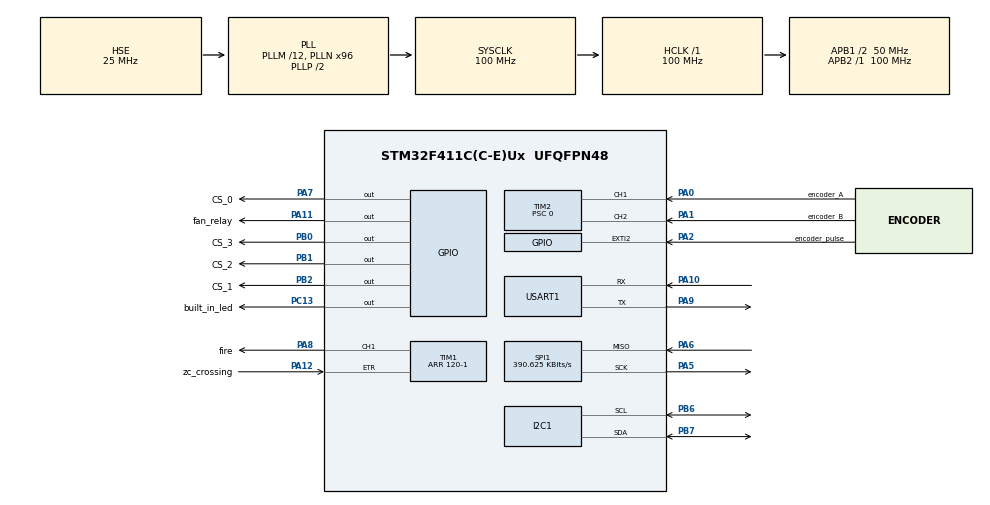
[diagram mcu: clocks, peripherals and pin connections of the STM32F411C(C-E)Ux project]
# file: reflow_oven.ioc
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Dma.I2C1_TX.0.Direction=DMA_MEMORY_TO_PERIPH
Dma.I2C1_TX.0.FIFOMode=DMA_FIFOMODE_DISABLE
Dma.I2C1_TX.0.Instance=DMA1_Stream1
Dma.I2C1_TX.0.MemDataAlignment=DMA_MDATAALIGN_BYTE
Dma.I2C1_TX.0.MemInc=DMA_MINC_ENABLE
Dma.I2C1_TX.0.Mode=DMA_NORMAL
Dma.I2C1_TX.0.PeriphDataAlignment=DMA_PDATAALIGN_BYTE
Dma.I2C1_TX.0.PeriphInc=DMA_PINC_DISABLE
Dma.I2C1_TX.0.Priority=DMA_PRIORITY_VERY_HIGH
Dma.Request0=I2C1_TX
Dma.Request1=USART1_RX
Dma.Request2=USART1_TX
Dma.USART1_RX.1.Direction=DMA_PERIPH_TO_MEMORY
Dma.USART1_RX.1.FIFOMode=DMA_FIFOMODE_DISABLE
Dma.USART1_RX.1.Instance=DMA2_Stream2
Dma.USART1_RX.1.MemDataAlignment=DMA_MDATAALIGN_BYTE
Dma.USART1_RX.1.MemInc=DMA_MINC_ENABLE
Dma.USART1_RX.1.Mode=DMA_NORMAL
Dma.USART1_RX.1.PeriphDataAlignment=DMA_PDATAALIGN_BYTE
Dma.USART1_RX.1.PeriphInc=DMA_PINC_DISABLE
Dma.USART1_RX.1.Priority=DMA_PRIORITY_LOW
Dma.USART1_TX.2.Direction=DMA_MEMORY_TO_PERIPH
Dma.USART1_TX.2.FIFOMode=DMA_FIFOMODE_DISABLE
Dma.USART1_TX.2.Instance=DMA2_Stream7
Dma.USART1_TX.2.MemDataAlignment=DMA_MDATAALIGN_BYTE
Dma.USART1_TX.2.MemInc=DMA_MINC_ENABLE
Dma.USART1_TX.2.Mode=DMA_NORMAL
Dma.USART1_TX.2.PeriphDataAlignment=DMA_PDATAALIGN_BYTE
Dma.USART1_TX.2.PeriphInc=DMA_PINC_DISABLE
Dma.USART1_TX.2.Priority=DMA_PRIORITY_VERY_HIGH
I2C1.I2C_Mode=I2C_Fast
Mcu.Family=STM32F4
Mcu.Name=STM32F411C(C-E)Ux
Mcu.Package=UFQFPN48
NVIC.DMA1_Stream1_IRQn=true\:0\:0\:false\:false\:true\:false\:true\:true
NVIC.DMA2_Stream2_IRQn=true\:0\:0\:false\:false\:true\:false\:true\:true
NVIC.DMA2_Stream7_IRQn=true\:0\:0\:false\:false\:true\:false\:true\:true
NVIC.EXTI2_IRQn=true\:0\:0\:false\:false\:true\:true\:true\:true
NVIC.I2C1_EV_IRQn=true\:0\:0\:false\:false\:true\:true\:true\:true
NVIC.PriorityGroup=NVIC_PRIORITYGROUP_4
NVIC.TIM3_IRQn=true\:0\:0\:false\:false\:true\:true\:true\:true
NVIC.USART1_IRQn=true\:0\:0\:false\:false\:true\:true\:true\:true
PA0-WKUP.GPIO_Label=encoder_A
PA0-WKUP.Signal=S_TIM2_CH1_ETR
PA1.GPIO_Label=encoder_B
PA1.Signal=S_TIM2_CH2
PA10.Mode=Asynchronous
PA10.Signal=USART1_RX
PA11.GPIO_Label=fan_relay
PA11.GPIO_ModeDefaultOutputPP=GPIO_MODE_OUTPUT_PP
PA11.GPIO_PuPd=GPIO_PULLUP
PA11.PinState=GPIO_PIN_SET
PA11.Signal=GPIO_Output
PA12.GPIO_Label=zc_crossing
PA12.Signal=S_TIM1_ETR
PA13.Mode=Serial_Wire
PA13.Signal=SYS_JTMS-SWDIO
PA14.Mode=Serial_Wire
PA14.Signal=SYS_JTCK-SWCLK
PA2.GPIO_Label=encoder_pulse
PA2.GPIO_ModeDefaultEXTI=GPIO_MODE_IT_FALLING
PA2.GPIO_PuPd=GPIO_PULLUP
PA2.Signal=GPXTI2
PA5.Mode=RX_Only_Simplex_Unidirect_Master
PA5.Signal=SPI1_SCK
PA6.Mode=RX_Only_Simplex_Unidirect_Master
PA6.Signal=SPI1_MISO
PA7.GPIO_Label=CS_0
PA7.GPIO_PuPd=GPIO_PULLUP
PA7.GPIO_Speed=GPIO_SPEED_FREQ_HIGH
PA7.PinState=GPIO_PIN_SET
PA7.Signal=GPIO_Output
PA8.GPIO_Label=fire
PA8.GPIO_ModeDefaultPP=GPIO_MODE_AF_PP
PA8.GPIO_PuPd=GPIO_PULLUP
PA8.GPIO_Speed=GPIO_SPEED_FREQ_VERY_HIGH
PA8.Signal=S_TIM1_CH1
PA9.Mode=Asynchronous
PA9.Signal=USART1_TX
PB0.GPIO_Label=CS_3
PB0.GPIO_PuPd=GPIO_PULLUP
PB0.GPIO_Speed=GPIO_SPEED_FREQ_HIGH
PB0.Signal=GPIO_Output
PB1.GPIO_Label=CS_2
PB1.GPIO_PuPd=GPIO_PULLUP
PB1.GPIO_Speed=GPIO_SPEED_FREQ_HIGH
PB1.Signal=GPIO_Output
PB2.GPIO_Label=CS_1
PB2.GPIO_PuPd=GPIO_PULLUP
PB2.GPIO_Speed=GPIO_SPEED_FREQ_HIGH
PB2.PinState=GPIO_PIN_SET
PB2.Signal=GPIO_Output
PB6.Mode=I2C
PB6.Signal=I2C1_SCL
PB7.Mode=I2C
PB7.Signal=I2C1_SDA
PC13-ANTI_TAMP.GPIO_Label=built_in_led
PC13-ANTI_TAMP.Signal=GPIO_Output
PC14-OSC32_IN.Mode=LSE-External-Oscillator
PC14-OSC32_IN.Signal=RCC_OSC32_IN
PC15-OSC32_OUT.Mode=LSE-External-Oscillator
PC15-OSC32_OUT.Signal=RCC_OSC32_OUT
PH0\ -\ OSC_IN.Mode=HSE-External-Oscillator
PH0\ -\ OSC_IN.Signal=RCC_OSC_IN
PH1\ -\ OSC_OUT.Mode=HSE-External-Oscillator
PH1\ -\ OSC_OUT.Signal=RCC_OSC_OUT
ProjectManager.HeapSize=0x200
ProjectManager.StackSize=0x400
ProjectManager.TargetToolchain=STM32CubeIDE
RCC.48MHZClocksFreq_Value=50000000
RCC.AHBFreq_Value=100000000
RCC.APB1CLKDivider=RCC_HCLK_DIV2
RCC.APB1Freq_Value=50000000
RCC.APB1TimFreq_Value=100000000
RCC.APB2Freq_Value=100000000
RCC.APB2TimFreq_Value=100000000
RCC.CortexFreq_Value=100000000
RCC.EnbaleCSS=true
RCC.HCLKFreq_Value=100000000
RCC.HSE_VALUE=25000000
RCC.HSI_VALUE=16000000
RCC.PLLM=12
RCC.PLLN=96
RCC.PLLSourceVirtual=RCC_PLLSOURCE_HSE
RCC.SYSCLKFreq_VALUE=100000000
RCC.SYSCLKSource=RCC_SYSCLKSOURCE_PLLCLK
RCC.VCOOutputFreq_Value=200000000
SH.S_TIM1_CH1.0=TIM1_CH1,PWM Generation1 CH1
SH.S_TIM1_ETR.0=TIM1_ETR,ClockSourceETR_Mode2
SH.S_TIM2_CH1_ETR.0=TIM2_CH1,Encoder_Interface
SH.S_TIM2_CH2.0=TIM2_CH2,Encoder_Interface
SPI1.BaudRatePrescaler=SPI_BAUDRATEPRESCALER_256
SPI1.CLKPhase=SPI_PHASE_1EDGE
SPI1.CalculateBaudRate=390.625 KBits/s
SPI1.DataSize=SPI_DATASIZE_16BIT
SPI1.Direction=SPI_DIRECTION_2LINES_RXONLY
SPI1.Mode=SPI_MODE_MASTER
SPI1.VirtualType=VM_MASTER
TIM1.AutoReloadPreload=TIM_AUTORELOAD_PRELOAD_ENABLE
TIM1.Channel-PWM\ Generation1\ CH1=TIM_CHANNEL_1
TIM1.ClockFilter=15
TIM1.OCFastMode_PWM-PWM\ Generation1\ CH1=TIM_OCFAST_ENABLE
TIM1.OCMode_PWM-PWM\ Generation1\ CH1=TIM_OCMODE_PWM1
TIM1.OCPolarity_1=TIM_OCPOLARITY_LOW
TIM1.Period=120-1
TIM2.AutoReloadPreload=TIM_AUTORELOAD_PRELOAD_ENABLE
TIM2.EncoderMode=TIM_ENCODERMODE_TI2
TIM2.IC1Filter=15
TIM2.IC2Filter=15
TIM2.Period=254-1
TIM2.Prescaler=0
TIM3.AutoReloadPreload=TIM_AUTORELOAD_PRELOAD_ENABLE
TIM3.Period=2500-1
TIM3.Prescaler=10000-1
USART1.VirtualMode=VM_ASYNC
VP_TIM3_VS_ClockSourceINT.Mode=Internal
board=custom

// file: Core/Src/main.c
/* USER CODE BEGIN Header */
/**
 ******************************************************************************
 * @file           : main.c
 * @github         : https://github.com/La-guajolota
 * @brief          : Main program body
 * @author 		   : Adrián Silva Palfox
 * @company 	   : Inbiodroid
 ******************************************************************************
 * @attention
 *
 * Copyright (c) 2025 STMicroelectronics.
 * All rights reserved.
 *
 * This software is licensed under terms that can be found in the LICENSE file
 * in the root directory of this software component.
 * If no LICENSE file comes with this software, it is provided AS-IS.
 *
 ******************************************************************************
 */
/* USER CODE END Header */
#include "main.h"

/* USER CODE BEGIN Includes */
/******************
 * Project includes
 ******************/
// Standard libs
#include <stdlib.h>
#include <stdio.h>
#include <stdbool.h>
#include <string.h>

// GUI related
//#include "UI/screen/ssd1306.h"
#include "UI/gui_backend.h"

// Hardware and logic control libs
#include "sensors/max6675.h"
#include "sensors/digital_filter.h"
#include "logic_control/reflow_oven_process.h"
/* USER CODE END Includes */

/* USER CODE BEGIN PD */
// Comment all debug modes to work as a reflow-oven
#define DEBUG_RANDOM_CROSSOVER_ACTUATOR
//#define DEBUG_MANUAL_PID_TUNNING
//#define DEBUG_CALIBRATION_THERMOCOUPLE

// Select a suitable digital filter
#define EMA_FILTER
// #define MV_FILTER
#ifdef MV_FILTER
#define FILTER_WINDOW 3    //window size (number of samples) for Circular buffer
#endif

// TX-UART and RX-UART-DMA parameters
#define RX_BUFFER_SIZE 30	//characters
#define TX_BUFFER_SIZE 30	//characters
#define TIMEOUT_RX 3000 	//ms
/* USER CODE END PD */

I2C_HandleTypeDef hi2c1;
DMA_HandleTypeDef hdma_i2c1_tx;

SPI_HandleTypeDef hspi1;

TIM_HandleTypeDef htim1;
TIM_HandleTypeDef htim2;
TIM_HandleTypeDef htim3;

UART_HandleTypeDef huart1;
DMA_HandleTypeDef hdma_usart1_rx;
DMA_HandleTypeDef hdma_usart1_tx;

/* USER CODE BEGIN PV */

/**************************
 * PROJECT GLOBAL VARIABLES
 *************************/
// esp01 related
volatile uint8_t RXuart_size = 1;		// Size of data to handle DMA RX uart
char webserv_buf[TX_BUFFER_SIZE] = {0}; // Tx uart buffer
char RXbuffer[RX_BUFFER_SIZE] = {0};   	// RX uart buffer
volatile uint32_t lastTime_RX; 			// Last RX timestamp (ms)
volatile bool TXuart_flag = true; 		// True->send    False->No-send
volatile bool RXuart_flag = false; 		// True->receive False->No-receive

// PID controller related
PIDController PID;
volatile uint8_t timers_isr = 0; 		// PID's sampling timer state is reflected in BIT0

// Sensors
float chamber_temp = 0.0f;      			   		// Celcius
float tempReadings[MAX6675_MAX_DEVICES] = {0.0f};	// Stores each sensor's temperature
MAX6675_Driver_t tempSensors;				   		// Intance sensor's driver
// Sensors' filter
#ifdef MV_FILTER
MovingAverage filter;								// Moving average filter instance
float filterBuffer[FILTER_WINDOW]; 					// Circular buffer for digital filter
#elif defined(EMA_FILTER)
EMAFilter filter;									// Exponential moving average filter instance
#endif
/* USER CODE END PV */

void SystemClock_Config(void);
static void MX_GPIO_Init(void);
static void MX_DMA_Init(void);
static void MX_SPI1_Init(void);
static void MX_TIM1_Init(void);
static void MX_I2C1_Init(void);
static void MX_TIM2_Init(void);
static void MX_USART1_UART_Init(void);
static void MX_TIM3_Init(void);
/* USER CODE BEGIN PFP */

/*********************
 * PROTOTYPE FUNCTIONS
 *********************/
void put_webserver_data(void);
void get_webserver_data(void);
void chamber_sense_temperature(void);
void update_randomCrossover_actuator(uint8_t);
void fan_control(bool);

/* USER CODE END PFP */

int main(void)
{

  /* MCU Configuration--------------------------------------------------------*/

  /* Reset of all peripherals, Initializes the Flash interface and the Systick. */
  HAL_Init();

  /* Configure the system clock */
  SystemClock_Config();

  /* Initialize all configured peripherals */
  MX_GPIO_Init();
  MX_DMA_Init();
  MX_SPI1_Init();
  MX_TIM1_Init();
  MX_I2C1_Init();
  MX_TIM2_Init();
  MX_USART1_UART_Init();
  MX_TIM3_Init();
  /* USER CODE BEGIN 2 */

  /****************************************************
   * INITIALIZATION OF HARDWARE AND SOFTWARE COMPONETNS
   ****************************************************/

  // PID's parameters
  PID_Init(&PID,
           2.5f,    // kp
           0.05f, 	// ki
           0.075f,  // kd
           0.3f,    // tau		-> LowPass filter
           0.0f,    // limMIN
           120.0f,  // limMAX 	-> 120 cycles since AC mains are 60hz
           -50.0f, 	// limMinInt
           50.0f,  	// limMaxInt
           0.25f);  // tsample in seconds

  // Temperature sensors
  HAL_TIM_Base_Start_IT(&htim3); // Enable sampling timer ISR
#ifdef MV_FILTER
  moving_average_init(&filter, filterBuffer, FILTER_WINDOW);
#elif defined(EMA_FILTER)
  ema_init(&filter, 0.35f);
#endif
  MAX6675_Init(&tempSensors, &hspi1);
  for (int i=0; i<MAX6675_MAX_DEVICES; i++) MAX6675_AddDevice(&tempSensors, i);

  // Zero-Crossover and fan actuators
  HAL_TIM_PWM_Start(&htim1, TIM_CHANNEL_1);
  update_randomCrossover_actuator(0);	//off
  fan_control(false); 					//off

  // User's input via encoder
  encoder.prev_dir = 0;
  encoder.prev_cnt = 0;
  HAL_TIM_Encoder_Start(&htim2, TIM_CHANNEL_ALL);

  // GUI-SM-Oled-screen | ReflowOven-SM | ESP01
  GUI_Init();
  ReflowOven_Init();
  HAL_UART_Receive_DMA(&huart1, (uint8_t*)RXbuffer, RXuart_size);

  /* USER CODE END 2 */

  /* Infinite loop */
  while (1)
  {

    /* USER CODE BEGIN 3 */
		/****************************************************************
		*  Check bti0 for temperature sensing / PID feedback-input update
		*  1.- Get temperature inside oven
		*  2.- Process data and update state
		*  3.- Act on heat elements
		*****************************************************************/
	if (timers_isr & 0x01) {
		timers_isr &= ~0x01;
		chamber_sense_temperature();
#ifdef DEBUG_RANDOM_CROSSOVER_ACTUATOR
		PID.out = PID.Kp;
		update_randomCrossover_actuator((uint8_t)PID.out); 			// PID.out <= 120 to test heating elements
#elif defined(DEBUG_MANUAL_PID_TUNNING)
	    PID_Update(&PID, 100.0f, chamber_temp); 					// SoakTime variable is used as set-point
		update_randomCrossover_actuator((uint8_t)PID.out);
#else	// Work as an actual reflow-oven
		ReflowOven_operate(&PID, chamber_temp, HAL_GetTick());
		update_randomCrossover_actuator((uint8_t)PID.out);
#endif
		put_webserver_data(); 										// Update ESP01 webserver
    }
    else {
    	/*****************************************
    	 * Receive user's inputs via
    	 * esp01 web server and encoder-OledScreen
		 *****************************************/
		get_webserver_data();
		Encoder_EventUpdate(&encoder);

		/**********************
		* Process user's inputs
		***********************/
		GUI_Process();

		/********************
		* Oled screen update
		********************/

		/***********************************
		* Handle OVEN-SM with GUI-SM states
		***********************************/
		if (ReflowOven.emergencyStop) gui_sm.is_process_running = false;
		if(!gui_sm.is_process_running){
		  ReflowOven_stopProcess();
		  fan_control(false);
		}else{
		  ReflowOven_startProcess();
		  fan_control(true);
		}
    }
  }
  /* USER CODE END 3 */
}

void SystemClock_Config(void)
{
  RCC_OscInitTypeDef RCC_OscInitStruct = {0};
  RCC_ClkInitTypeDef RCC_ClkInitStruct = {0};

  /** Configure the main internal regulator output voltage
  */
  __HAL_RCC_PWR_CLK_ENABLE();
  __HAL_PWR_VOLTAGESCALING_CONFIG(PWR_REGULATOR_VOLTAGE_SCALE1);

  /** Initializes the RCC Oscillators according to the specified parameters
  * in the RCC_OscInitTypeDef structure.
  */
  RCC_OscInitStruct.OscillatorType = RCC_OSCILLATORTYPE_HSE;
  RCC_OscInitStruct.HSEState = RCC_HSE_ON;
  RCC_OscInitStruct.PLL.PLLState = RCC_PLL_ON;
  RCC_OscInitStruct.PLL.PLLSource = RCC_PLLSOURCE_HSE;
  RCC_OscInitStruct.PLL.PLLM = 12;
  RCC_OscInitStruct.PLL.PLLN = 96;
  RCC_OscInitStruct.PLL.PLLP = RCC_PLLP_DIV2;
  RCC_OscInitStruct.PLL.PLLQ = 4;
  if (HAL_RCC_OscConfig(&RCC_OscInitStruct) != HAL_OK)
  {
    Error_Handler();
  }

  /** Initializes the CPU, AHB and APB buses clocks
  */
  RCC_ClkInitStruct.ClockType = RCC_CLOCKTYPE_HCLK|RCC_CLOCKTYPE_SYSCLK
                              |RCC_CLOCKTYPE_PCLK1|RCC_CLOCKTYPE_PCLK2;
  RCC_ClkInitStruct.SYSCLKSource = RCC_SYSCLKSOURCE_PLLCLK;
  RCC_ClkInitStruct.AHBCLKDivider = RCC_SYSCLK_DIV1;
  RCC_ClkInitStruct.APB1CLKDivider = RCC_HCLK_DIV2;
  RCC_ClkInitStruct.APB2CLKDivider = RCC_HCLK_DIV1;

  if (HAL_RCC_ClockConfig(&RCC_ClkInitStruct, FLASH_LATENCY_3) != HAL_OK)
  {
    Error_Handler();
  }

  /** Enables the Clock Security System
  */
  HAL_RCC_EnableCSS();
}

static void MX_I2C1_Init(void)
{

  hi2c1.Instance = I2C1;
  hi2c1.Init.ClockSpeed = 400000;
  hi2c1.Init.DutyCycle = I2C_DUTYCYCLE_2;
  hi2c1.Init.OwnAddress1 = 0;
  hi2c1.Init.AddressingMode = I2C_ADDRESSINGMODE_7BIT;
  hi2c1.Init.DualAddressMode = I2C_DUALADDRESS_DISABLE;
  hi2c1.Init.OwnAddress2 = 0;
  hi2c1.Init.GeneralCallMode = I2C_GENERALCALL_DISABLE;
  hi2c1.Init.NoStretchMode = I2C_NOSTRETCH_DISABLE;
  if (HAL_I2C_Init(&hi2c1) != HAL_OK)
  {
    Error_Handler();
  }

}

static void MX_SPI1_Init(void)
{

  /* SPI1 parameter configuration*/
  hspi1.Instance = SPI1;
  hspi1.Init.Mode = SPI_MODE_MASTER;
  hspi1.Init.Direction = SPI_DIRECTION_2LINES_RXONLY;
  hspi1.Init.DataSize = SPI_DATASIZE_16BIT;
  hspi1.Init.CLKPolarity = SPI_POLARITY_LOW;
  hspi1.Init.CLKPhase = SPI_PHASE_1EDGE;
  hspi1.Init.NSS = SPI_NSS_SOFT;
  hspi1.Init.BaudRatePrescaler = SPI_BAUDRATEPRESCALER_256;
  hspi1.Init.FirstBit = SPI_FIRSTBIT_MSB;
  hspi1.Init.TIMode = SPI_TIMODE_DISABLE;
  hspi1.Init.CRCCalculation = SPI_CRCCALCULATION_DISABLE;
  hspi1.Init.CRCPolynomial = 10;
  if (HAL_SPI_Init(&hspi1) != HAL_OK)
  {
    Error_Handler();
  }

}

static void MX_TIM1_Init(void)
{

  TIM_ClockConfigTypeDef sClockSourceConfig = {0};
  TIM_MasterConfigTypeDef sMasterConfig = {0};
  TIM_OC_InitTypeDef sConfigOC = {0};
  TIM_BreakDeadTimeConfigTypeDef sBreakDeadTimeConfig = {0};

  htim1.Instance = TIM1;
  htim1.Init.Prescaler = 0;
  htim1.Init.CounterMode = TIM_COUNTERMODE_UP;
  htim1.Init.Period = 120-1;
  htim1.Init.ClockDivision = TIM_CLOCKDIVISION_DIV1;
  htim1.Init.RepetitionCounter = 0;
  htim1.Init.AutoReloadPreload = TIM_AUTORELOAD_PRELOAD_ENABLE;
  if (HAL_TIM_Base_Init(&htim1) != HAL_OK)
  {
    Error_Handler();
  }
  sClockSourceConfig.ClockSource = TIM_CLOCKSOURCE_ETRMODE2;
  sClockSourceConfig.ClockPolarity = TIM_CLOCKPOLARITY_NONINVERTED;
  sClockSourceConfig.ClockPrescaler = TIM_CLOCKPRESCALER_DIV1;
  sClockSourceConfig.ClockFilter = 15;
  if (HAL_TIM_ConfigClockSource(&htim1, &sClockSourceConfig) != HAL_OK)
  {
    Error_Handler();
  }
  if (HAL_TIM_PWM_Init(&htim1) != HAL_OK)
  {
    Error_Handler();
  }
  sMasterConfig.MasterOutputTrigger = TIM_TRGO_RESET;
  sMasterConfig.MasterSlaveMode = TIM_MASTERSLAVEMODE_DISABLE;
  if (HAL_TIMEx_MasterConfigSynchronization(&htim1, &sMasterConfig) != HAL_OK)
  {
    Error_Handler();
  }
  sConfigOC.OCMode = TIM_OCMODE_PWM1;
  sConfigOC.Pulse = 0;
  sConfigOC.OCPolarity = TIM_OCPOLARITY_LOW;
  sConfigOC.OCNPolarity = TIM_OCNPOLARITY_HIGH;
  sConfigOC.OCFastMode = TIM_OCFAST_ENABLE;
  sConfigOC.OCIdleState = TIM_OCIDLESTATE_RESET;
  sConfigOC.OCNIdleState = TIM_OCNIDLESTATE_RESET;
  if (HAL_TIM_PWM_ConfigChannel(&htim1, &sConfigOC, TIM_CHANNEL_1) != HAL_OK)
  {
    Error_Handler();
  }
  sBreakDeadTimeConfig.OffStateRunMode = TIM_OSSR_DISABLE;
  sBreakDeadTimeConfig.OffStateIDLEMode = TIM_OSSI_DISABLE;
  sBreakDeadTimeConfig.LockLevel = TIM_LOCKLEVEL_OFF;
  sBreakDeadTimeConfig.DeadTime = 0;
  sBreakDeadTimeConfig.BreakState = TIM_BREAK_DISABLE;
  sBreakDeadTimeConfig.BreakPolarity = TIM_BREAKPOLARITY_HIGH;
  sBreakDeadTimeConfig.AutomaticOutput = TIM_AUTOMATICOUTPUT_DISABLE;
  if (HAL_TIMEx_ConfigBreakDeadTime(&htim1, &sBreakDeadTimeConfig) != HAL_OK)
  {
    Error_Handler();
  }
  HAL_TIM_MspPostInit(&htim1);

}

static void MX_TIM2_Init(void)
{

  TIM_Encoder_InitTypeDef sConfig = {0};
  TIM_MasterConfigTypeDef sMasterConfig = {0};

  htim2.Instance = TIM2;
  htim2.Init.Prescaler = 0;
  htim2.Init.CounterMode = TIM_COUNTERMODE_UP;
  htim2.Init.Period = 254-1;
  htim2.Init.ClockDivision = TIM_CLOCKDIVISION_DIV1;
  htim2.Init.AutoReloadPreload = TIM_AUTORELOAD_PRELOAD_ENABLE;
  sConfig.EncoderMode = TIM_ENCODERMODE_TI2;
  sConfig.IC1Polarity = TIM_ICPOLARITY_RISING;
  sConfig.IC1Selection = TIM_ICSELECTION_DIRECTTI;
  sConfig.IC1Prescaler = TIM_ICPSC_DIV1;
  sConfig.IC1Filter = 15;
  sConfig.IC2Polarity = TIM_ICPOLARITY_RISING;
  sConfig.IC2Selection = TIM_ICSELECTION_DIRECTTI;
  sConfig.IC2Prescaler = TIM_ICPSC_DIV1;
  sConfig.IC2Filter = 15;
  if (HAL_TIM_Encoder_Init(&htim2, &sConfig) != HAL_OK)
  {
    Error_Handler();
  }
  sMasterConfig.MasterOutputTrigger = TIM_TRGO_RESET;
  sMasterConfig.MasterSlaveMode = TIM_MASTERSLAVEMODE_DISABLE;
  if (HAL_TIMEx_MasterConfigSynchronization(&htim2, &sMasterConfig) != HAL_OK)
  {
    Error_Handler();
  }

}

static void MX_TIM3_Init(void)
{

  TIM_ClockConfigTypeDef sClockSourceConfig = {0};
  TIM_MasterConfigTypeDef sMasterConfig = {0};

  htim3.Instance = TIM3;
  htim3.Init.Prescaler = 10000-1;
  htim3.Init.CounterMode = TIM_COUNTERMODE_UP;
  htim3.Init.Period = 2500-1;
  htim3.Init.ClockDivision = TIM_CLOCKDIVISION_DIV1;
  htim3.Init.AutoReloadPreload = TIM_AUTORELOAD_PRELOAD_ENABLE;
  if (HAL_TIM_Base_Init(&htim3) != HAL_OK)
  {
    Error_Handler();
  }
  sClockSourceConfig.ClockSource = TIM_CLOCKSOURCE_INTERNAL;
  if (HAL_TIM_ConfigClockSource(&htim3, &sClockSourceConfig) != HAL_OK)
  {
    Error_Handler();
  }
  sMasterConfig.MasterOutputTrigger = TIM_TRGO_RESET;
  sMasterConfig.MasterSlaveMode = TIM_MASTERSLAVEMODE_DISABLE;
  if (HAL_TIMEx_MasterConfigSynchronization(&htim3, &sMasterConfig) != HAL_OK)
  {
    Error_Handler();
  }

}

static void MX_USART1_UART_Init(void)
{

  huart1.Instance = USART1;
  huart1.Init.BaudRate = 115200;
  huart1.Init.WordLength = UART_WORDLENGTH_8B;
  huart1.Init.StopBits = UART_STOPBITS_1;
  huart1.Init.Parity = UART_PARITY_NONE;
  huart1.Init.Mode = UART_MODE_TX_RX;
  huart1.Init.HwFlowCtl = UART_HWCONTROL_NONE;
  huart1.Init.OverSampling = UART_OVERSAMPLING_16;
  if (HAL_UART_Init(&huart1) != HAL_OK)
  {
    Error_Handler();
  }

}

static void MX_DMA_Init(void)
{

  /* DMA controller clock enable */
  __HAL_RCC_DMA1_CLK_ENABLE();
  __HAL_RCC_DMA2_CLK_ENABLE();

  /* DMA interrupt init */
  /* DMA1_Stream1_IRQn interrupt configuration */
  HAL_NVIC_SetPriority(DMA1_Stream1_IRQn, 0, 0);
  HAL_NVIC_EnableIRQ(DMA1_Stream1_IRQn);
  /* DMA2_Stream2_IRQn interrupt configuration */
  HAL_NVIC_SetPriority(DMA2_Stream2_IRQn, 0, 0);
  HAL_NVIC_EnableIRQ(DMA2_Stream2_IRQn);
  /* DMA2_Stream7_IRQn interrupt configuration */
  HAL_NVIC_SetPriority(DMA2_Stream7_IRQn, 0, 0);
  HAL_NVIC_EnableIRQ(DMA2_Stream7_IRQn);

}

static void MX_GPIO_Init(void)
{
  GPIO_InitTypeDef GPIO_InitStruct = {0};

  /* GPIO Ports Clock Enable */
  __HAL_RCC_GPIOC_CLK_ENABLE();
  __HAL_RCC_GPIOH_CLK_ENABLE();
  __HAL_RCC_GPIOA_CLK_ENABLE();
  __HAL_RCC_GPIOB_CLK_ENABLE();

  /*Configure GPIO pin Output Level */
  HAL_GPIO_WritePin(built_in_led_GPIO_Port, built_in_led_Pin, GPIO_PIN_RESET);

  /*Configure GPIO pin Output Level */
  HAL_GPIO_WritePin(GPIOA, CS_0_Pin|fan_relay_Pin, GPIO_PIN_SET);

  /*Configure GPIO pin Output Level */
  HAL_GPIO_WritePin(GPIOB, CS_3_Pin|CS_2_Pin, GPIO_PIN_RESET);

  /*Configure GPIO pin Output Level */
  HAL_GPIO_WritePin(CS_1_GPIO_Port, CS_1_Pin, GPIO_PIN_SET);

  /*Configure GPIO pin : built_in_led_Pin */
  GPIO_InitStruct.Pin = built_in_led_Pin;
  GPIO_InitStruct.Mode = GPIO_MODE_OUTPUT_PP;
  GPIO_InitStruct.Pull = GPIO_NOPULL;
  GPIO_InitStruct.Speed = GPIO_SPEED_FREQ_LOW;
  HAL_GPIO_Init(built_in_led_GPIO_Port, &GPIO_InitStruct);

  /*Configure GPIO pin : encoder_pulse_Pin */
  GPIO_InitStruct.Pin = encoder_pulse_Pin;
  GPIO_InitStruct.Mode = GPIO_MODE_IT_FALLING;
  GPIO_InitStruct.Pull = GPIO_PULLUP;
  HAL_GPIO_Init(encoder_pulse_GPIO_Port, &GPIO_InitStruct);

  /*Configure GPIO pin : CS_0_Pin */
  GPIO_InitStruct.Pin = CS_0_Pin;
  GPIO_InitStruct.Mode = GPIO_MODE_OUTPUT_PP;
  GPIO_InitStruct.Pull = GPIO_PULLUP;
  GPIO_InitStruct.Speed = GPIO_SPEED_FREQ_HIGH;
  HAL_GPIO_Init(CS_0_GPIO_Port, &GPIO_InitStruct);

  /*Configure GPIO pins : CS_3_Pin CS_2_Pin CS_1_Pin */
  GPIO_InitStruct.Pin = CS_3_Pin|CS_2_Pin|CS_1_Pin;
  GPIO_InitStruct.Mode = GPIO_MODE_OUTPUT_PP;
  GPIO_InitStruct.Pull = GPIO_PULLUP;
  GPIO_InitStruct.Speed = GPIO_SPEED_FREQ_HIGH;
  HAL_GPIO_Init(GPIOB, &GPIO_InitStruct);

  /*Configure GPIO pin : fan_relay_Pin */
  GPIO_InitStruct.Pin = fan_relay_Pin;
  GPIO_InitStruct.Mode = GPIO_MODE_OUTPUT_PP;
  GPIO_InitStruct.Pull = GPIO_PULLUP;
  GPIO_InitStruct.Speed = GPIO_SPEED_FREQ_LOW;
  HAL_GPIO_Init(fan_relay_GPIO_Port, &GPIO_InitStruct);

  /* EXTI interrupt init*/
  HAL_NVIC_SetPriority(EXTI2_IRQn, 0, 0);
  HAL_NVIC_EnableIRQ(EXTI2_IRQn);

}

/* USER CODE BEGIN 4 */
/*************************
 * PROTORYPES' DEFINITIONS
 *************************/
/**
 * @brief Updates PWM duty cycle for AC heating elements
 * @param ON_semiCicles Number of semi-cycles to turn on heating elements
 */
void update_randomCrossover_actuator(uint8_t ON_semiCicles){
    __HAL_TIM_SET_COMPARE(&htim1, TIM_CHANNEL_1, ON_semiCicles);
}

/**
 * @brief Controls fan relay state
 * @param state true = fan ON, false = fan OFF
 * @note Uses inverted logic due to NOT gate in hardware
 */
void fan_control(bool state){
    HAL_GPIO_WritePin(fan_relay_GPIO_Port, fan_relay_Pin, !state);
    HAL_GPIO_WritePin(built_in_led_GPIO_Port, built_in_led_Pin, !state);
}

/**
 * @brief Reads temperature from MAX6675_MAX_DEVICES sensors and calculates chamber average temperature
 * @note Updates global variable chamber_temp with averaged result
 */
void chamber_sense_temperature(void)
{
	float sum = 0.0f;
    uint8_t valid_sensor_count = 0;

    for (int sensor = 0; sensor < MAX6675_MAX_DEVICES; sensor++) {
    	if (MAX6675_ReadTemperature(&tempSensors, sensor) != HAL_OK) continue;
    	if (MAX6675_GetTemperature(&tempSensors, sensor, tempReadings + sensor) != HAL_OK) continue;
		sum += tempReadings[sensor];
		valid_sensor_count++;
    }

    if (valid_sensor_count) {
    	chamber_temp = (sum / valid_sensor_count); 						// Compensate for sensor

#ifdef MV_FILTER
    	chamber_temp = moving_average_update(&filter, chamber_temp);	// Digital filter
#elif defined(EMA_FILTER)
    	chamber_temp = ema_process(&filter, chamber_temp);
#endif
	}
    else {
	    chamber_temp = MAX6675_INVALID_TEMP;
	}
}

/**
 * @brief Formats float data with wrapper characters and transmits via UART DMA
 */
void put_webserver_data(void){
	if (TXuart_flag) {
    	TXuart_flag = false;
#ifdef DEBUG_CALIBRATION_THERMOCOUPLE
    	snprintf(webserv_buf, sizeof(webserv_buf),"M%.2fN%.2fP%dE%d\r\n", tempReadings[0], tempReadings[1], (uint8_t)PID.out, (uint8_t)ReflowOven_getCurrentPhase());
#else
    	snprintf(webserv_buf, sizeof(webserv_buf),"t%.2fP%dE%d\r\n", chamber_temp, (uint8_t)PID.out, (uint8_t)ReflowOven_getCurrentPhase());
#endif
    	HAL_UART_Transmit_DMA(&huart1,(uint8_t*)webserv_buf,strlen(webserv_buf));
	}
}

/**
 * @brief  Parses UART data received from the webserver and applies configuration changes.
 *
 * This function is called periodically to check if new data has been received via
 * UART (in this case from an ESP01 acting as a webserver). It parses a single-character
 * command followed by a float value, and updates either the PID controller or the
 * Reflow Oven process accordingly.
 *
 * @note The function is triggered only when a full valid message has been received (flag + size check).
 *       The function resets the RX flag upon successful parsing.
 */
void get_webserver_data(void){

	// Check if new data has been received via UART
    if (RXuart_flag && RXuart_size==1) {
        // Reset RX flag upon successful parsing
        RXuart_flag = false;

        // Parse single-character command followed by a float value
        switch (RXbuffer [0]) {
            // PID controller variables
            case 'p':  // Update PID Kp (proportional) parameter
                PID_UpdateKp(&PID, strtof(RXbuffer + 1, NULL));
                break;
            case 'i':  // Update PID Ki (integral) parameter
                PID_UpdateKi(&PID, strtof(RXbuffer + 1, NULL));
                break;
            case 'd':  // Update PID Kd (derivative) parameter
                PID_UpdateKd(&PID, strtof(RXbuffer + 1, NULL));
                break;

            // Reflow oven controller variables
            case 'a':  // Update pre-heat up rate
                ReflowOven_modifyParameters(PARAM_Pre_HeatUpRate, strtof(RXbuffer + 1, NULL));
                break;
            case 'b':  // Update soak temperature
                ReflowOven_modifyParameters(PARAM_SoakTempeture, strtof(RXbuffer + 1, NULL));
                break;
            case 'c':  // Update soak time
                ReflowOven_modifyParameters(PARAM_SoakTime, strtof(RXbuffer + 1, NULL));
                break;
            case 'D':  // Update heat-up rate
                ReflowOven_modifyParameters(PARAM_HeatUpRate, strtof(RXbuffer + 1, NULL));
                break;
            case 'e':  // Update reflow temperature
                ReflowOven_modifyParameters(PARAM_ReflowTempeture, strtof(RXbuffer + 1, NULL));
                break;
            case 'f':  // Update reflow time
                ReflowOven_modifyParameters(PARAM_ReflowTime, strtof(RXbuffer + 1, NULL));
                break;
            case 'g':  // Update cool-down rate
                ReflowOven_modifyParameters(PARAM_CoolDownRate, strtof(RXbuffer + 1, NULL));
                break;
            case 'h':  // Update cool-down temperature
                ReflowOven_modifyParameters(PARAM_CoolDownTempeture, strtof(RXbuffer + 1, NULL));
                break;

            // Oven's control button
            case 'B':  // Start or stop reflow oven process
                if(RXbuffer [1] - '0') { // We do math with ASSCI code
                    gui_sm.is_process_running  = true;
                } else {
                    gui_sm.is_process_running  = false;
                }
                break;
        }
    }

    if (HAL_DMA_GetState(&hdma_usart1_rx)==HAL_DMA_STATE_READY ||    // Handle a DMA abort caused by ESP01 boot message
       (RXuart_flag && (HAL_GetTick() - lastTime_RX > TIMEOUT_RX) )) // Timeout (3s) of waiting in Rx for full message
    {
        RXuart_flag = false;
        HAL_UART_DMAStop(&huart1);
        HAL_UART_Receive_DMA(&huart1, (uint8_t*)RXbuffer, 1);
        return;
    }
}

/************
* CALLBACKS
***********/
/**
 * @brief Callback invoked when UART reception via DMA is complete.
 *
 * This function handles a two-stage UART reception using DMA:
 * 1. In the first stage, it receives a single byte which indicates the size of the upcoming message.
 * 2. In the second stage, it sets up DMA to receive the full message of that specified size.
 *
 * When the full message is received:
 * - It null-terminates the buffer for safe parsing.
 * - It sets a flag to indicate new data is available.
 *
 * @note This callback reinitializes DMA reception every time it is called,
 *       enabling continuous, non-blocking UART communication.
 *
 * @param huart Pointer to a UART_HandleTypeDef structure with the UART instance.
 */
void HAL_UART_RxCpltCallback(UART_HandleTypeDef *huart) {
	if (RXuart_flag) {
		// Full message received
		RXuart_size = 1; // Reset to expect size byte next, also works as a flag in get_webserver_data()
		HAL_UART_Receive_DMA(&huart1, (uint8_t*)RXbuffer, RXuart_size);
	} else {
		// First byte received, it tells us the upcoming message size
		RXuart_size = (uint8_t)RXbuffer[0];
		HAL_UART_Receive_DMA(&huart1, (uint8_t*)RXbuffer, RXuart_size);
		RXuart_flag = true;
		lastTime_RX = HAL_GetTick();
	}
}

/**
 * @brief Callback invoked when UART transmission via DMA is complete.
 *
 * @note Ensure that NVIC interrupts for UART are enabled, otherwise
 *       this callback won't be triggered.
 */
void HAL_UART_TxCpltCallback(UART_HandleTypeDef *huart){
	if (huart == &huart1){
		TXuart_flag = true; // Enables STATE_MACHINE_UDP_SEND
	}
}

/**
 * @brief GPIO external interrupt callback
 * @param GPIO_Pin Pin that triggered the interrupt
 */
void HAL_GPIO_EXTI_Callback(uint16_t GPIO_Pin)
{
    if (GPIO_Pin == encoder_pulse_Pin)
    {
        // TODO: Add a anti-bouncing algorithm
        encoder.isr_reg |= 0x01;
    }
}

/**
 * @brief Timer period elapsed callback
 * @param htim Timer handle that triggered the callback
 */
void HAL_TIM_PeriodElapsedCallback(TIM_HandleTypeDef *htim)
{
    // ISR for periodic sample of sensors
    if (htim == &htim3)
    {
        timers_isr |= 0x01;
    }
}

/* USER CODE END 4 */

void Error_Handler(void)
{
  __disable_irq();
  while (1)
  {
  }
}
